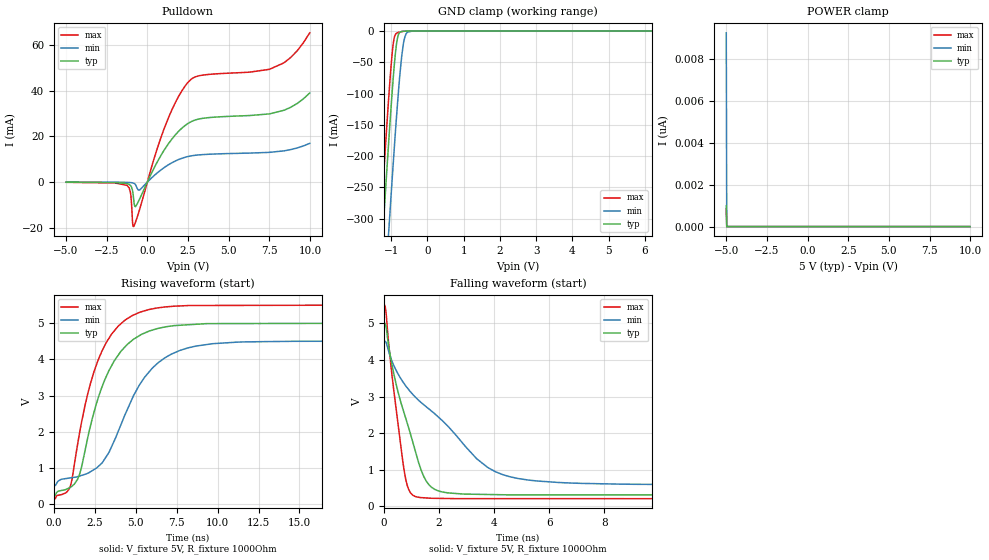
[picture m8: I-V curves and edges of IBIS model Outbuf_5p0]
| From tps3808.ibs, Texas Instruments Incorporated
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|   Model Outbuf_5p0 open-drain output buffer
[Model]   Outbuf_5p0
Model_type   Open_drain
Polarity   Non-Inverting
Vmeas = 2.5
Vref = 5
Cref = 0pF
Rref = 1000
|   typ   min   max
|   (nom PVT)   (fast PVT)   (slow PVT)
C_comp   10.28p   10.16p   10.96p
|C_comp (ON state)   10.28p   10.16p   10.96p
|C_comp (OFF state)   9.77p   9.64p   10.28p
| Where   nom PVT is  Nominal Process, 5V, 27C
|   Fast PVT is Strong Process, 5.5V, -40C
|   Slow PVT is Weak Process, 4.5V, 125C
[Voltage Range]   5   4.5   5.5
[Temperature Range]   27   150   -40
[Pullup Reference]   5   4.5   5.5
[Pulldown Reference]   -0   -0   -0
[Power Clamp Reference]   5   4.5   5.5
[GND Clamp Reference]   -0   -0   -0
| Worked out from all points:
|   slope of the pulldown table from 0 to 0.75 V, typ, clamps not added: 70.7 ohm
|   GND clamp passes 1 mA (typ) near -0.72 V on its own axis
|   falling waveform, V_fixture 5V, R_fixture 1000Ohm: 20-80 % time 995ps typ, 2.84ns min, 505ps max; typ from 5 V to 0.306 V
|   rising waveform, V_fixture 5V, R_fixture 1000Ohm: 20-80 % time 2.05ns typ, 2.67ns min, 1.87ns max; typ from 0.306 V to 5 V
[Pulldown]
|   Voltage   I(typ)   I(min)   I(max)
-5V       -43.94uA   -10.33uA   -83.02uA
-1.25V    -640.2uA   -118.5uA   -1.4mA
-1.04V    -1.445mA   -205.6uA   -4.501mA
-905mV    -3.93mA    -349.6uA   -17.93mA
-845mV    -7.185mA   -479.9uA   -19.51mA
-725mV    -10.75mA   -1.151mA   -17.51mA
-485mV    -7.527mA   -3.485mA   -12.23mA
1.06V     14.3mA     6.488mA    23.93mA
2.53V     25.86mA    11.27mA    43.99mA
7.525V    29.94mA    13.05mA    49.5mA
8.8V      32.76mA    14.23mA    54.55mA
9.985V    39.07mA    16.99mA    65.46mA
[GND Clamp]
|   Voltage   I(typ)   I(min)   I(max)
-5V       -4.027A    -4.159A    -3.964A
-1.43V    -510.6mA   -656.2mA   -438.5mA
-1.25V    -341.2mA   -487.2mA   -268.6mA
-1.16V    -258.5mA   -404mA     -186.3mA
-1.07V    -178.3mA   -322.4mA   -107.9mA
-935mV    -68.88mA   -204.3mA   -16.87mA
-875mV    -31mA      -154.6mA   -4.75mA
-815mV    -8.639mA   -108.1mA   -2.45mA
-710mV    -677.3uA   -40.36mA   -931.3uA
-650mV    -257.2uA   -16.08mA   -475.5uA
-410mV    -16.83uA   -55.66uA   -51.45uA
9.985V    0A         0A         0A
[POWER Clamp]
|   Voltage   I(typ)   I(min)   I(max)
-5V       996.8pA    9.247nA    836.8pA
-4.97V    0A         0A         0A
-4.955V   0A         0A         0A
9.985V    0A         0A         0A
[Ramp]
R_load = 1000
|   typ   min   max
dV/dt_r   2.81666/2.05358e-09   2.34909/2.66545e-09   3.1789/1.8667e-09
dV/dt_f   2.81666/9.94765e-10   2.34909/2.83651e-09   3.1789/5.05461e-10
[Falling Waveform]
V_fixture = 5V
V_fixture_min = 4.5V
V_fixture_max = 5.5V
R_fixture = 1000Ohm
C_fixture = 0F
|   Time   V(typ)   V(min)   V(max)
0s        5V         4.5V       5.5V
69.1ps    4.936V     4.491V     5.345V
301.5ps   3.831V     3.95V      3.523V
731.3ps   2.55V      3.355V     982.3mV
900.3ps   2.135V     3.186V     450mV
1.184ns   1.388V     2.951V     251.8mV
1.946ns   423.9mV    2.458V     211.2mV
3.775ns   317mV      1.054V     202.8mV
5.212ns   307.7mV    715.5mV    202.7mV
24.9ns    305.6mV    584.8mV    201.8mV
[Rising Waveform]
V_fixture = 5V
V_fixture_min = 4.5V
V_fixture_max = 5.5V
R_fixture = 1000Ohm
C_fixture = 0F
|   Time   V(typ)   V(min)   V(max)
0s        305.6mV    584.8mV    201.8mV
1.042ns   479.2mV    732.7mV    552mV
1.549ns   796.2mV    779.5mV    1.91V
1.915ns   1.504V     830.9mV    2.75V
2.935ns   3.23V      1.139V     4.225V
3.684ns   3.953V     1.748V     4.781V
4.772ns   4.519V     2.903V     5.202V
6.366ns   4.853V     3.904V     5.419V
8.685ns   4.967V     4.366V     5.484V
24.9ns    5V         4.5V       5.5V
